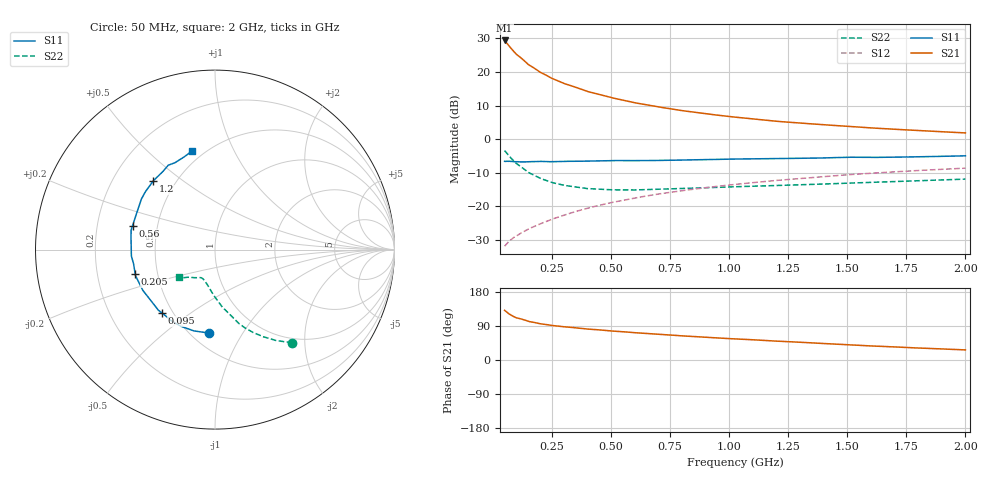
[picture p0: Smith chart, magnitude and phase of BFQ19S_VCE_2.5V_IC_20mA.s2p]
! Infineon Technologies  Discrete & RF Semiconductors
! BFQ19S
! VCE =  2.5 V,  IC =  20 mA
! Common Emitter S-Parameters:  Jan 2016
# GHz  S  MA  R  50
!  f  S11  S21  S12  S22
! GHz  MAG  ANG  MAG  ANG  MAG  ANG  MAG  ANG
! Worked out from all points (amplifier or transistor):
!   391 points, 50 MHz to 2 GHz, reference 50 ohm
!   highest |S21| = 29.4 dB at 50 MHz (marker M1)
!   |S21| within 3 dB of that: start of sweep to 85.4 MHz
!   unconditionally stable (mu >= 1): 379.3 MHz to 1.783 GHz
!   at 375 MHz: K = 1.00, MSG = 18.0 dB, |S12| = -21.1 dB
!   at 1.025 GHz: K = 1.04, MAG = 8.7 dB, |S12| = -13.5 dB
!   at 2 GHz: K = 0.98, MSG = 5.3 dB, |S12| = -8.7 dB
!   S11 on the Smith chart (normalised r, x): 50 MHz: 0.61, -0.73; 95 MHz: 0.44, -0.39; 205 MHz: 0.37, -0.13; 560 MHz: 0.36, +0.13; 1.2 GHz: 0.38, +0.39; 2 GHz: 0.43, +0.70
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0.05  0.4663 -93.8  29.46 131.1  0.0254 60.6  0.6741 -50.3
0.06  0.4679 -104.5  26.62 125.7  0.0279 58.9  0.6103 -56.1
0.07  0.4677 -113.9  24.07 121.1  0.0304 57.6  0.5551 -61.0
0.08  0.4653 -121.3  21.89 117.3  0.0323 57.0  0.5083 -65.3
0.09  0.4602 -127.3  20 114.1  0.0345 56.7  0.4675 -69.0
0.095  0.4606 -130.2  19.16 112.8  0.0353 57.1  0.4498 -70.5
0.1  0.4622 -133.0  18.33 111.3  0.0361 57.4  0.4325 -72.1
0.15  0.4616 -150.5  12.93 101.8  0.0455 59.0  0.3195 -83.1
0.205  0.4653 -162.8  9.744 95.3  0.0553 61.6  0.2567 -91.2
0.25  0.46 -169.7  8.031 91.2  0.0639 63.2  0.2255 -96.7
0.3  0.4673 -175.5  6.751 87.6  0.0733 64.1  0.2051 -100.9
0.375  0.4682 177.3  5.523 83.5  0.0881 65.0  0.1884 -106.0
0.4  0.4702 174.9  5.122 81.7  0.0931 65.2  0.1832 -107.9
0.5  0.4797 167.0  4.147 76.7  0.1128 65.3  0.1757 -112.5
0.56  0.478 163.7  3.744 74.1  0.1245 64.9  0.175 -114.8
0.7  0.4807 155.9  3.017 67.9  0.1517 63.9  0.1783 -119.0
0.845  0.4914 148.4  2.533 62.1  0.1786 62.1  0.1859 -122.6
1.03  0.5047 139.6  2.116 55.5  0.2121 59.5  0.1952 -126.8
1.2  0.5145 132.1  1.84 49.8  0.242 57.0  0.2035 -130.4
1.35  0.5202 125.6  1.684 45.2  0.268 54.7  0.2114 -133.3
1.675  0.5366 112.3  1.419 35.2  0.3212 49.2  0.231 -137.5
2  0.5633 103.2  1.236 26.6  0.3689 43.8  0.2534 -143.2
